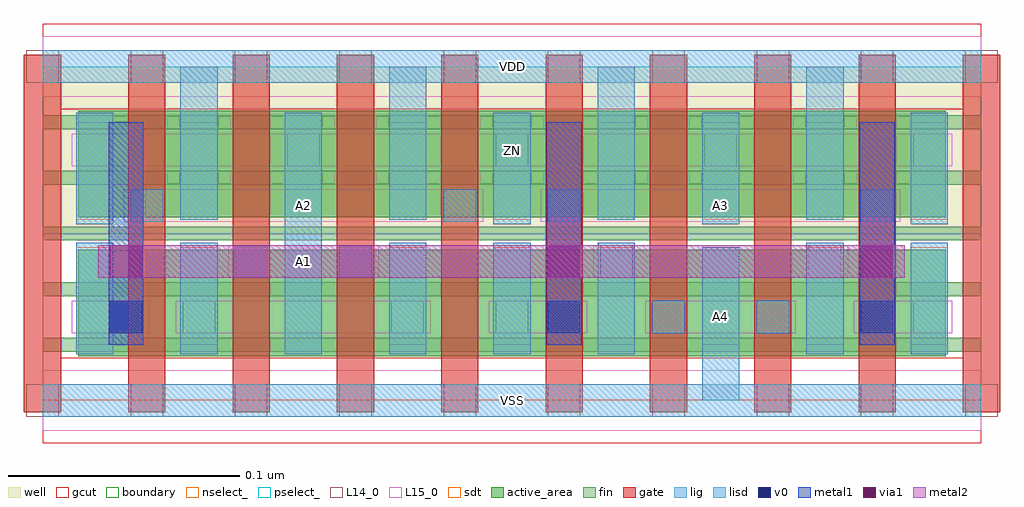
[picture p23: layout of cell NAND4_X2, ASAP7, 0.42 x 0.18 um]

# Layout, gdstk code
import gdstk
lib = gdstk.Library(unit=1e-6, precision=2.5e-10)
def R(c, l, rs):  # rectangles x0, y0, x1, y1
    for r in rs: c.add(gdstk.rectangle(r[:2], r[2:], *l))
def A(c, l, x, y, w, h, nx, ny, dx, dy):  # array of equal rectangles
    R(c, l, [(x+i*dx, y+j*dy, x+i*dx+w, y+j*dy+h) for i in range(nx) for j in range(ny)])
well = (1, 0)
fin = (2, 0)
gate = (7, 0)
gcut = (10, 0)
active_area = (11, 0)
nselect_ = (12, 0)
pselect_ = (13, 0)
L14_0 = (14, 0)
L15_0 = (15, 0)
lig = (16, 0)
lisd = (17, 0)
v0 = (18, 0)
metal1 = (19, 0)
metal2 = (20, 0)
via1 = (21, 0)
sdt = (88, 0)
boundary = (100, 0)

nand4_x2 = lib.new_cell('NAND4_X2')
R(nand4_x2, well, [(0,0.072,0.405,0.144)])
A(nand4_x2, fin, 0, 0.021, 0.405, 0.006, 1, 5, 0, 0.024)
A(nand4_x2, gate, -0.008, -0.005, 0.016, 0.154, 10, 1, 0.045, 0)
R(nand4_x2, gcut, [(0,-0.0185,0.405,0.0185), (-0.008,-0.005,0.008,0.149), (0.397,-0.005,0.413,0.149), (0,0.1255,0.405,0.1625)])
A(nand4_x2, active_area, 0.0155, 0.019, 0.059, 0.046, 8, 2, 0.045, 0.06)
R(nand4_x2, nselect_, [(0,0,0.405,0.072)])
R(nand4_x2, pselect_, [(0,0.072,0.405,0.144)])
A(nand4_x2, L14_0, -0.007, -0.007, 0.014, 0.014, 10, 2, 0.045, 0.144)
A(nand4_x2, L14_0, 0.0155, 0.101, 0.014, 0.014, 5, 1, 0.09, 0)
R(nand4_x2, L14_0, [(0.0155,0.029,0.0295,0.043), (0.0605,0.029,0.0745,0.043), (0.1505,0.029,0.1645,0.043), (0.1955,0.029,0.2095,0.043), (0.263,0.029,0.277,0.043), (0.308,0.029,0.322,0.043), (0.3755,0.029,0.3895,0.043), (0.083,0.053,0.097,0.067), (0.128,0.053,0.142,0.067), (0.2405,0.053,0.2545,0.067), (0.3305,0.053,0.3445,0.067), (0.038,0.077,0.052,0.091), (0.173,0.077,0.187,0.091), (0.218,0.077,0.232,0.091), (0.353,0.077,0.367,0.091)])
R(nand4_x2, L15_0, [(0,-0.013,0.405,0.013), (0.0125,0.029,0.046,0.043), (0.0575,0.029,0.1675,0.043), (0.1925,0.029,0.235,0.043), (0.26,0.029,0.325,0.043), (0.35,0.029,0.3925,0.043), (0.08,0.053,0.145,0.067), (0.2375,0.053,0.3475,0.067), (0.035,0.077,0.19,0.091), (0.215,0.077,0.37,0.091), (0.0125,0.101,0.3925,0.115), (0,0.131,0.405,0.157)])
R(nand4_x2, lig, [(0,-0.007,0.405,0.007), (0.263,0.029,0.277,0.043), (0.308,0.029,0.322,0.043), (0.083,0.053,0.097,0.067), (0.128,0.053,0.142,0.067), (0.038,0.077,0.052,0.091), (0.173,0.077,0.187,0.091), (0.218,0.077,0.232,0.091), (0.353,0.077,0.367,0.091), (0,0.137,0.405,0.151)])
R(nand4_x2, lisd, [(0.2845,0,0.3005,0.066), (0.2845,0,0.3005,0.066), (0.0145,0.02,0.0305,0.068), (0.0595,0.02,0.0755,0.068), (0.0595,0.02,0.0755,0.068), (0.1045,0.02,0.1205,0.124), (0.1045,0.02,0.1205,0.124), (0.1495,0.02,0.1655,0.068), (0.1495,0.02,0.1655,0.068), (0.1945,0.02,0.2105,0.068), (0.1945,0.02,0.2105,0.068), (0.2395,0.02,0.2555,0.068), (0.2395,0.02,0.2555,0.068), (0.3295,0.02,0.3455,0.068), (0.3295,0.02,0.3455,0.068), (0.3745,0.02,0.3905,0.068), (0.0145,0.076,0.0305,0.124), (0.1945,0.076,0.2105,0.124), (0.1945,0.076,0.2105,0.124), (0.2845,0.076,0.3005,0.124), (0.2845,0.076,0.3005,0.124), (0.3745,0.076,0.3905,0.124), (0.0595,0.078,0.0755,0.144), (0.0595,0.078,0.0755,0.144), (0.1495,0.078,0.1655,0.144), (0.1495,0.078,0.1655,0.144), (0.2395,0.078,0.2555,0.144), (0.2395,0.078,0.2555,0.144), (0.3295,0.078,0.3455,0.144), (0.3295,0.078,0.3455,0.144)])
R(nand4_x2, v0, [(0.029,0.029,0.043,0.043), (0.218,0.029,0.232,0.043), (0.353,0.029,0.367,0.043)])
R(nand4_x2, metal1, [(0.0285,0.024,0.0435,0.12), (0.2175,0.024,0.2325,0.12), (0.3525,0.024,0.3675,0.12)])
R(nand4_x2, metal2, [(0.024,0.053,0.372,0.067)])
R(nand4_x2, via1, [(0.029,0.053,0.043,0.067), (0.218,0.053,0.232,0.067), (0.353,0.053,0.367,0.067)])
R(nand4_x2, sdt, [(0.1045,0.02,0.1205,0.124), (0.1045,0.02,0.1205,0.124), (0.0145,0.024,0.0305,0.066), (0.0595,0.024,0.0755,0.066), (0.0595,0.024,0.0755,0.066), (0.1495,0.024,0.1655,0.066), (0.1495,0.024,0.1655,0.066), (0.1945,0.024,0.2105,0.066), (0.1945,0.024,0.2105,0.066), (0.2395,0.024,0.2555,0.066), (0.2395,0.024,0.2555,0.066), (0.2845,0.024,0.3005,0.066), (0.2845,0.024,0.3005,0.066), (0.3295,0.024,0.3455,0.066), (0.3295,0.024,0.3455,0.066), (0.3745,0.024,0.3905,0.066), (0.0145,0.078,0.0305,0.12), (0.0595,0.078,0.0755,0.12), (0.0595,0.078,0.0755,0.12), (0.1495,0.078,0.1655,0.12), (0.1495,0.078,0.1655,0.12), (0.1945,0.078,0.2105,0.12), (0.1945,0.078,0.2105,0.12), (0.2395,0.078,0.2555,0.12), (0.2395,0.078,0.2555,0.12), (0.2845,0.078,0.3005,0.12), (0.2845,0.078,0.3005,0.12), (0.3295,0.078,0.3455,0.12), (0.3295,0.078,0.3455,0.12), (0.3745,0.078,0.3905,0.12)])
R(nand4_x2, boundary, [(0,0,0.405,0.144)])
nand4_x2.add(gdstk.Label('VDD', (0.2025,0.144), layer=1, texttype=251))
nand4_x2.add(gdstk.Label('VSS', (0.2025,0), layer=3, texttype=251))
nand4_x2.add(gdstk.Label('A2', (0.1125,0.084), layer=15, texttype=251))
nand4_x2.add(gdstk.Label('A1', (0.1125,0.06), layer=15, texttype=251))
nand4_x2.add(gdstk.Label('ZN', (0.2025,0.108), layer=15, texttype=251))
nand4_x2.add(gdstk.Label('A3', (0.2925,0.084), layer=15, texttype=251))
nand4_x2.add(gdstk.Label('A4', (0.2925,0.036), layer=15, texttype=251))
nand4_x2.add(gdstk.Label('VSS', (0.2025,0), layer=15, texttype=251))
nand4_x2.add(gdstk.Label('VDD', (0.2025,0.144), layer=15, texttype=251))

lib.write_gds('NAND4_X2.gds')
